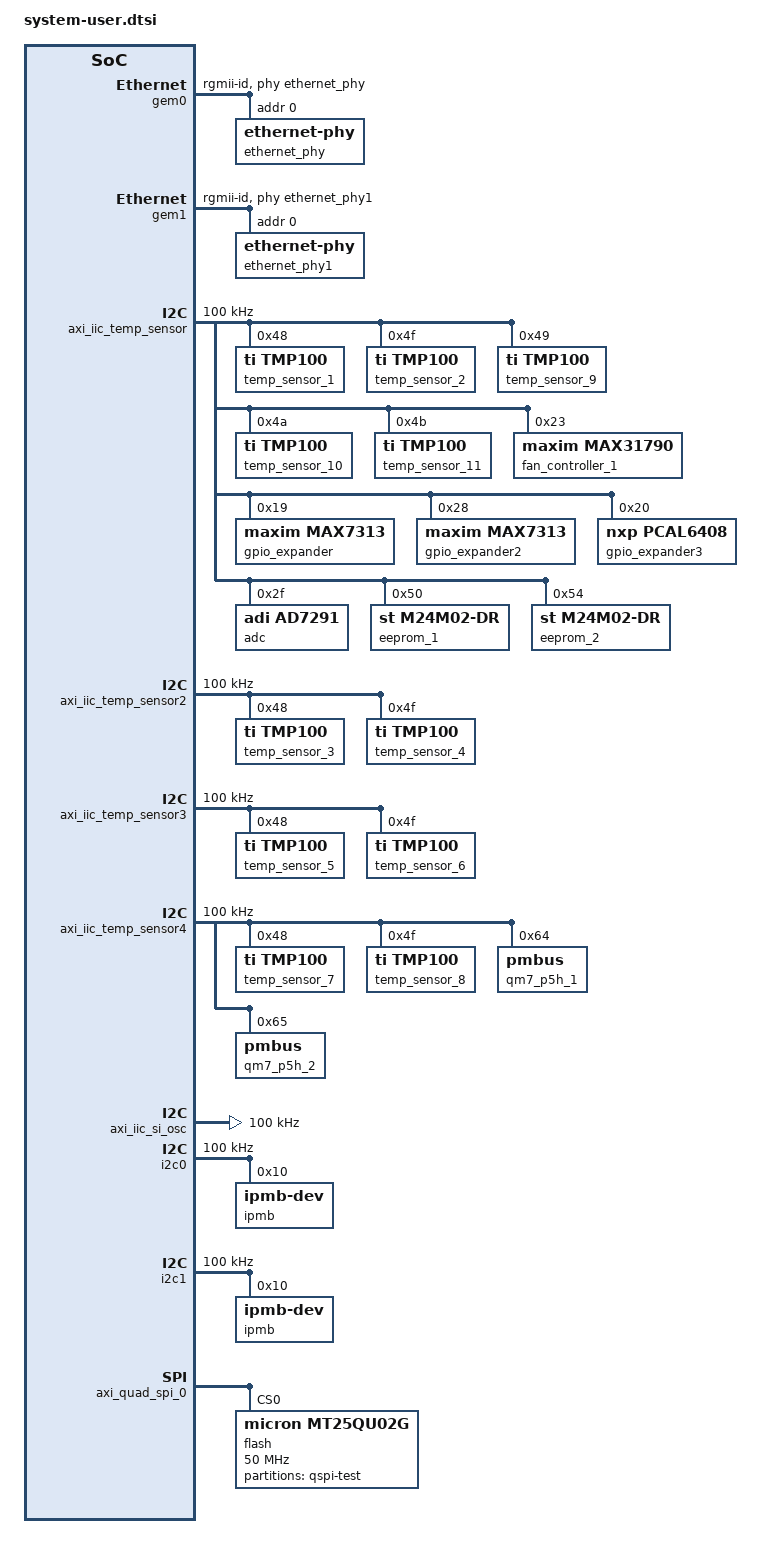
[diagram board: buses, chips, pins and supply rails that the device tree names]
/include/ "system-conf.dtsi"
/ {
};
&gem0 {
    compatible = "xlnx,zynq-gem", "cdns,gem";
    reg = <0xe000b000 0x1000>;
    status = "okay";
    interrupts = <0 22 4>;
    clocks = <&clkc 30>, <&clkc 30>, <&clkc 13>;
    clock-names = "pclk", "hclk", "tx_clk";
    #address-cells = <1>;
    #size-cells = <0>;
    enet-reset = <&gpio0 11 0>;
    phy-mode = "rgmii-id";
    xlnx,ptp-enet-clock = <0x69f6bcb>;
    phy-handle = <&ethernet_phy>;
    ethernet_phy: ethernet-phy@0 {
        reg = <0>;
    };
};

&gem1 {
    compatible = "xlnx,zynq-gem", "cdns,gem";
    reg = <0xe000c000 0x1000>;
    status = "okay";
    interrupts = <0 45 4>;
    clocks = <&clkc 31>, <&clkc 31>, <&clkc 14>;
    clock-names = "pclk", "hclk", "tx_clk";
    #address-cells = <1>;
    #size-cells = <0>;
    enet-reset = <&gpio0 9 0>;
    phy-mode = "rgmii-id";
    xlnx,ptp-enet-clock = <0x69f6bcb>;
    phy-handle = <&ethernet_phy1>;
    ethernet_phy1: ethernet-phy@0 {
        reg = <0>;
        device_type = "ethernet-phy";
    };
};

&axi_iic_temp_sensor {
    clock-frequency = <100000>;
    compatible = "xlnx,axi-iic-2.1", "xlnx,xps-iic-2.00.a";
    status = "okay";

    temp_sensor_1: tmp100@48 {
        compatible = "ti,tmp100";
        reg = <0x48>;
        #address-cells = <1>;
        #size-cells = <0>;
    };

    temp_sensor_2: tmp100@4f {
        compatible = "ti,tmp100";
        reg = <0x4f>;
        #address-cells = <1>;
        #size-cells = <0>;
    };

    temp_sensor_9: tmp100@49 {
        compatible = "ti,tmp100";
        reg = <0x49>;
        #address-cells = <1>;
        #size-cells = <0>;
    };

    temp_sensor_10: tmp100@4A {
        compatible = "ti,tmp100";
        reg = <0x4A>;
        #address-cells = <1>;
        #size-cells = <0>;
    };

    temp_sensor_11: tmp100@4B {
        compatible = "ti,tmp100";
        reg = <0x4B>;
        #address-cells = <1>;
        #size-cells = <0>;
    };

    fan_controller_1: max31790@21 {
        compatible = "maxim,max31790";
        reg = <0x23>;
        #address-cells = <1>;
        #size-cells = <0>;
    };

    gpio_expander: max7313@19 {
        compatible = "maxim,max7313";
        reg = <0x19>;
        gpio-controller;
        #gpio-cells = <2>;
    };
    gpio_expander2: max7313@28 {
        compatible = "maxim,max7313";
        reg = <0x28>;
        gpio-controller;
        #gpio-cells = <2>;
    };
    gpio_expander3: pcal6408@20 {
        compatible = "nxp,pcal6408";
        reg = <0x20>;
        gpio-controller;
        #gpio-cells = <2>;
    };
    adc@2f {
        compatible = "adi,ad7291";
        reg = <0x2f>;
        #address-cells = <1>;
        #size-cells = <0>;
    };
    eeprom_1: eeprom@50 {
        compatible = "st,m24m02-dr", "atmel,24c2048";
        reg = <0x50>;
        num-addresses = <4>;
        pagesize = <256>;
        #address-cells = <1>;
        #size-cells = <0>;
    };
    eeprom_2: eeprom@54 {
        compatible = "st,m24m02-dr", "atmel,24c2048";
        reg = <0x54>;
        num-addresses = <4>;
        pagesize = <256>;
        #address-cells = <1>;
        #size-cells = <0>;
    };
};

&axi_iic_temp_sensor2 {
    clock-frequency = <100000>;
    compatible = "xlnx,axi-iic-2.1", "xlnx,xps-iic-2.00.a";
    status = "okay";

    temp_sensor_3: tmp100@48 {
        compatible = "ti,tmp100";
        reg = <0x48>;
        #address-cells = <1>;
        #size-cells = <0>;
    };

    temp_sensor_4: tmp100@4f {
        compatible = "ti,tmp100";
        reg = <0x4f>;
        #address-cells = <1>;
        #size-cells = <0>;
    };
};

&axi_iic_temp_sensor3 {
    clock-frequency = <100000>;
    compatible = "xlnx,axi-iic-2.1", "xlnx,xps-iic-2.00.a";
    status = "okay";

    temp_sensor_5: tmp100@48 {
        compatible = "ti,tmp100";
        reg = <0x48>;
        #address-cells = <1>;
        #size-cells = <0>;
    };

    temp_sensor_6: tmp100@4f {
        compatible = "ti,tmp100";
        reg = <0x4f>;
        #address-cells = <1>;
        #size-cells = <0>;
    };
};

&axi_iic_temp_sensor4 {
    clock-frequency = <100000>;
    compatible = "xlnx,axi-iic-2.1", "xlnx,xps-iic-2.00.a";
    status = "okay";

    temp_sensor_7: tmp100@48 {
        compatible = "ti,tmp100";
        reg = <0x48>;
        #address-cells = <1>;
        #size-cells = <0>;
    };

    temp_sensor_8: tmp100@4f {
        compatible = "ti,tmp100";
        reg = <0x4f>;
        #address-cells = <1>;
        #size-cells = <0>;
    };

    qm7_p5h_1: pmbus@64 {
        compatible = "pmbus";
        reg = <0x64>;
    };

    qm7_p5h_2: pmbus@65 {
        compatible = "pmbus";
        reg = <0x65>;
    };
};

&axi_iic_fan_ctrl {
    clock-frequency = <100000>;
    compatible = "xlnx,axi-iic-2.1", "xlnx,xps-iic-2.00.a";
    status = "okay";

    max31790@20 {
        compatible = "maxim,max31790";
        reg = <0x20>;
        #address-cells = <1>;
        #size-cells = <0>;
    };
};

&axi_iic_si_osc {
    clock-frequency = <100000>;
    status = "okay";
};

&i2c0 {
    status = "okay";
    clock-frequency = <100000>;
    ipmb@45 {
        compatible = "ipmb-dev";
        reg = <0x10>;
        i2c-protocol;
        bmc-addr = <0x20>;
    };
};

&i2c1 {
    status = "okay";
    clock-frequency = <100000>;
    ipmb@45 {
        compatible = "ipmb-dev";
        reg = <0x10>;
        i2c-protocol;
        bmc-addr = <0x20>;
    };
};



&{/axi/spi@e000d000/flash@0} {
    compatible = "micron,mt25qu02g", "jedec,spi-nor";
    reg = <0x0>;
    #address-cells = <1>;
    #size-cells = <1>;
    spi-tx-bus-width = <1>;
    spi-rx-bus-width = <2>;
    spi-max-frequency = <50000000>;
    partitions {
        compatible = "fixed-partitions";
        #address-cells = <1>;
        #size-cells = <1>;
        partition@0 {
            label = "qspi-boot";
            reg = <0x0 0x800000>; /* 8 MB */
        };
        partition@1 {
            label = "qspi-bootenv";
            reg = <0x800000 0x40000>; /* 256 KB */
        };
        partition@2 {
            label = "qspi-kernel";
            reg = <0x840000 0x4000000>; /* 64 MB */
        };
        partition@3 {
            label = "qspi-data";
            reg = <0x4840000 0x4000000>; /* 64 MB */
        };
        partition@4 {
            label = "qspi-logs";
            reg = <0x8840000 0x2000000>; /* 32 MB */
        };
        partition@5 {
            label = "qspi-sel";
            reg = <0xA840000 0x100000>; /* 1 MB */
        };
    };
};

&axi_quad_spi_0 {
    status = "okay";
    #address-cells = <1>;
    #size-cells = <0>;
    interrupts = <0 66 4>;
    interrupt-parent = <&intc>;
    flash@0 {
        compatible = "micron,mt25qu02g", "jedec,spi-nor";
        reg = <0>;
        spi-max-frequency = <50000000>;
        #address-cells = <1>;
        #size-cells = <1>;
        partitions {
            compatible = "fixed-partitions";
            #address-cells = <1>;
            #size-cells = <1>;
            partition@0 {
                label = "qspi-test";
                reg = <0x0 0x800000>;   /* 8 MB */
            };
        };
    };
};
&xadc_wiz_0 {
    #io-channel-cells = <1>;
    xlnx,channels {
        channel@0 {
            reg = <0>;
        };
        channel@1 {
            reg = <1>;
        };
        channel@2 {
            reg = <2>;
        };
        channel@3 {
            reg = <3>;
        };
        channel@4 {
            reg = <4>;
        };
        channel@5 {
            reg = <5>;
        };
        channel@6 {
            reg = <6>;
        };
        channel@7 {
            reg = <7>;
        };
        channel@8 {
            reg = <8>;
        };
    };
};

&adc {
    status = "disabled";
    #io-channel-cells = <1>;
    xlnx,channels {
        channel@0 {
            reg = <0>;
            xlnx,bipolar;
        };
        channel@1 {
            reg = <1>;
            xlnx,bipolar;
        };
        channel@2 {
            reg = <2>;
            xlnx,bipolar;
        };
        channel@3 {
            reg = <3>;
            xlnx,bipolar;
        };
        channel@4 {
            reg = <4>;
            xlnx,bipolar;
        };
        channel@5 {
            reg = <5>;
            xlnx,bipolar;
        };
    };
};
